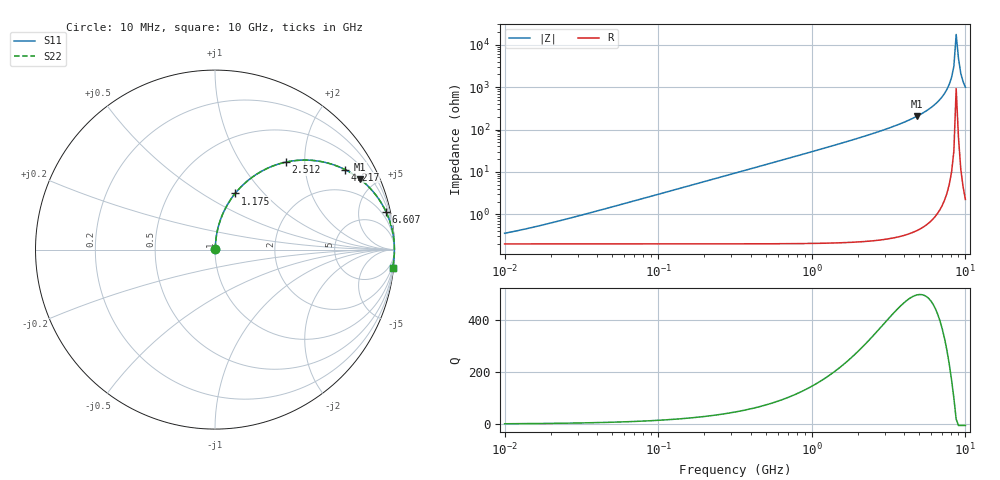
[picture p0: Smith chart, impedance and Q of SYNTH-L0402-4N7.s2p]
! Manufacturer: Synthetic (not a real part)
! Synthetic example generated by SmithChart.Online from an equivalent circuit.
! Not measured data and not a manufacturer file.
! Circuit: L 4.7e-9 H with R 0.2 ohm in series, Cp 7e-14 F across
! Fixture: series-through
# MHZ S RI R 50
! f S11 S21 S12 S22
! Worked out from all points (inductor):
!   201 points, 10 MHz to 10 GHz, reference 50 ohm
!   read as one part in series: L = 4.7 nH near 20.65 MHz
!   highest Q = 497 at 4.842 GHz (marker M1), where L = 6.76 nH
!   self-resonance near 8.71 GHz
!   S11 on the Smith chart (normalised r, x): 10 MHz: 1.00, +0.01; 1.175 GHz: 1.00, +0.71; 2.512 GHz: 1.00, +1.62; 4.217 GHz: 1.01, +3.24; 6.607 GHz: 1.02, +9.01; 10 GHz: 1, -20
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10  0.002 0.00294  0.998 -0.00294  0.998 -0.00294  0.002 0.00294
32.35937  0.00209 0.00952  0.9979 -0.00952  0.9979 -0.00952  0.00209 0.00952
101.1579  0.00288 0.0297  0.9971 -0.0297  0.9971 -0.0297  0.00288 0.0297
316.2278  0.0106 0.0923  0.9894 -0.0923  0.9894 -0.0923  0.0106 0.0923
1023.293  0.0874 0.279  0.9126 -0.279  0.9126 -0.279  0.0874 0.279
1174.898  0.1124 0.3129  0.8876 -0.3129  0.8876 -0.3129  0.1124 0.3129
1717.908  0.2187 0.4113  0.7813 -0.4113  0.7813 -0.4113  0.2187 0.4113
2511.886  0.3953 0.4874  0.6047 -0.4874  0.6047 -0.4874  0.3953 0.4874
3198.895  0.5426 0.497  0.4574 -0.497  0.4574 -0.497  0.5426 0.497
4216.965  0.7235 0.4462  0.2765 -0.4462  0.2765 -0.4462  0.7235 0.4462
4841.724  0.8082 0.3927  0.1918 -0.3927  0.1918 -0.3927  0.8082 0.3927
5754.399  0.8984 0.3011  0.1016 -0.3011  0.1016 -0.3011  0.8984 0.3011
6606.934  0.9526 0.2113  0.0474 -0.2113  0.0474 -0.2113  0.9526 0.2113
7079.458  0.9725 0.1623  0.0275 -0.1623  0.0275 -0.1623  0.9725 0.1623
7585.776  0.9871 0.1113  0.0129 -0.1113  0.0129 -0.1113  0.9871 0.1113
8128.305  0.9962 0.0589  0.00382 -0.0589  0.00382 -0.0589  0.9962 0.0589
8413.951  0.9986 0.0323  0.00137 -0.0323  0.00137 -0.0323  0.9986 0.0323
8709.636  0.9997 0.00572  0.000335 -0.00572  0.000335 -0.00572  0.9997 0.00572
9015.711  0.9993 -0.0209  0.00072 0.0209  0.00072 0.0209  0.9993 -0.0209
9332.543  0.9975 -0.0475  0.00252 0.0475  0.00252 0.0475  0.9975 -0.0475
9660.509  0.9943 -0.0739  0.00574 0.0739  0.00574 0.0739  0.9943 -0.0739
10000  0.9896 -0.1001  0.0104 0.1001  0.0104 0.1001  0.9896 -0.1001
